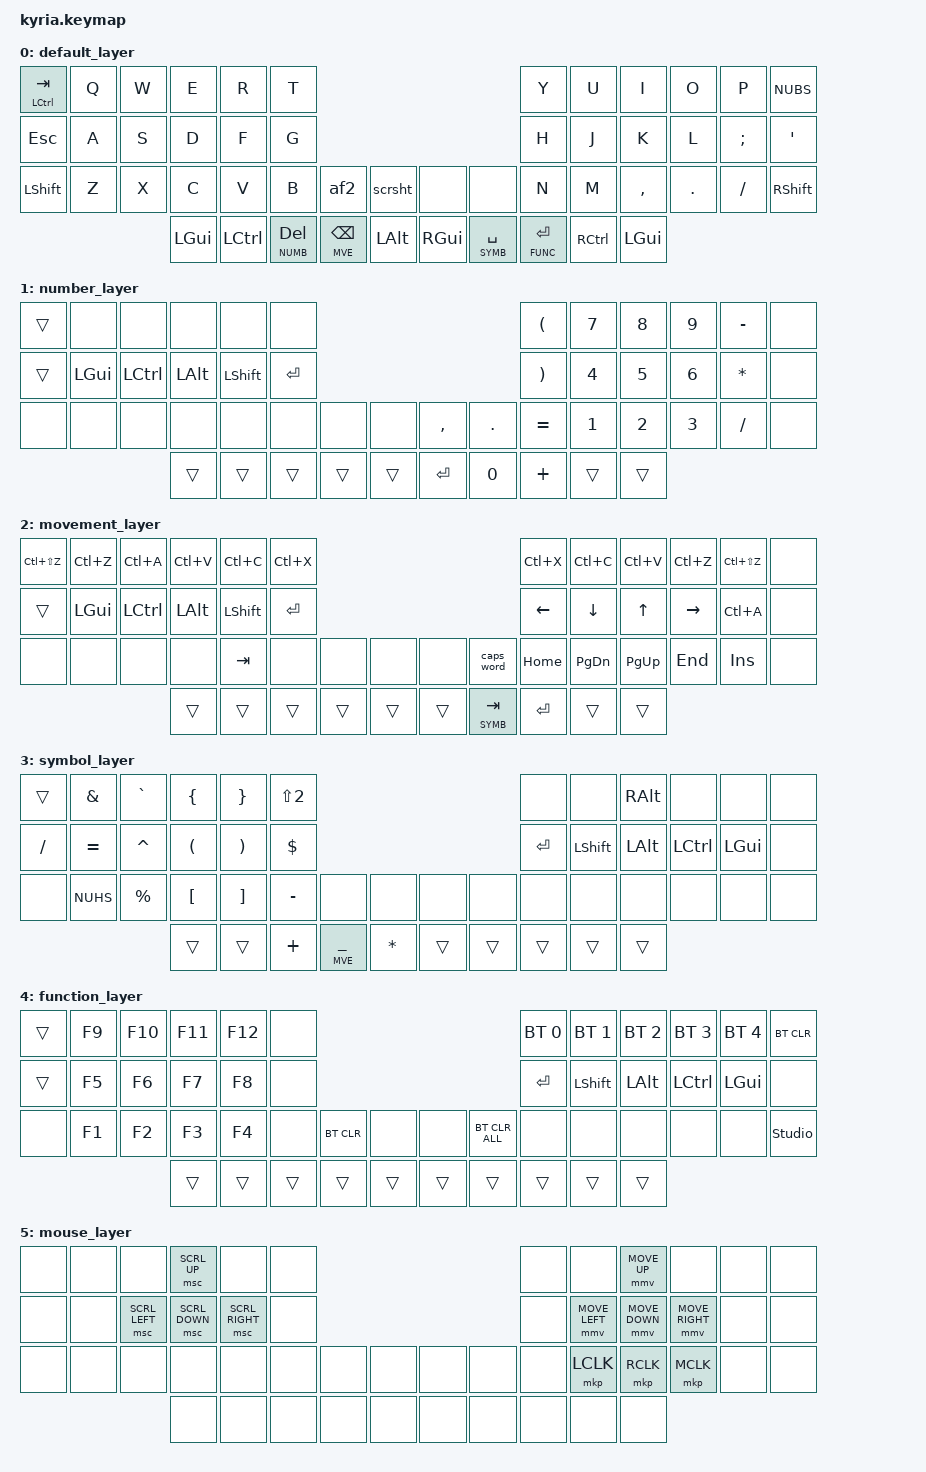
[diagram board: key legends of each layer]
/*
 * Copyright (c) 2020 The ZMK Contributors
 *
 * SPDX-License-Identifier: MIT
 */

#define DEFT 0
#define NUMB 1
#define MVE 2
#define SYMB 3
#define FUNC 4
#define MOUSE 5

#include <behaviors.dtsi>
#include <behaviors/mouse_keys.dtsi>
#include <dt-bindings/zmk/keys.h>
#include <dt-bindings/zmk/bt.h>
#include <dt-bindings/zmk/pointing.h>


/ {
    macros {
    ZMK_MACRO(af2,
        wait-ms = <30>;
        tap-ms = <40>;
        bindings = <&macro_tap &kp LA(F2)>;
    )
    ZMK_MACRO(scrsht,
        wait-ms = <30>;
        tap-ms = <40>;
        bindings = <&macro_tap &kp LG(LS(S))>;
    )	
    ZMK_MACRO(eqar,
        wait-ms = <30>;
        tap-ms = <40>;
        bindings = <&macro_tap &kp EQUAL &kp LS(DOT)>;
    )	
    ZMK_MACRO(eqal,
        wait-ms = <30>;
        tap-ms = <40>;
        bindings = <&macro_tap &kp LS(COMMA) &kp EQUAL>;
    )
    ZMK_MACRO(dhar,
        wait-ms = <30>;
        tap-ms = <40>;
        bindings = <&macro_tap &kp MINUS &kp LS(DOT)>;
    )
    ZMK_MACRO(dhal,
        wait-ms = <30>;
        tap-ms = <40>;
        bindings = <&kp LS(COMMA) &kp MINUS>;
    )
    };
};

&caps_word {
    continue-list = <UNDERSCORE MINUS BACKSPACE DELETE>;
};

/ {
    combos {
        compatible = "zmk,combos";
        combo_search {
            timeout-ms = <50>;
            key-positions = <42 43>;
            bindings = <&af2>;
        };
        combo_scrsht {
            timeout-ms = <50>;
            key-positions = <45 46>;
            bindings = <&scrsht>;
            layers = <0>;
        };
        combo_caps_word {
            timeout-ms = <50>;
            key-positions = <46 47>;
            bindings = <&caps_word>;
            layers = <0>;
        };
        combo_dot {
            timeout-ms = <50>;
            key-positions = <46 47>;
            bindings = <&kp DOT>;
            layers = <1>;
        };
	combo_arrow {
            timeout-ms = <50>;
            key-positions = <19 29>;
            bindings = <&dhar>;
            layers = <3>;
        };
	combo_arrow_rev {
            timeout-ms = <50>;
            key-positions = <19 20 29>;
            bindings = <&dhal>;
            layers = <3>;
        };	
	combo_thick_arrow {
            timeout-ms = <50>;
            key-positions = <13 19>;
            bindings = <&eqar>;
            layers = <3>;
        };
	combo_thick_arrow_rev {
            timeout-ms = <50>;
            key-positions = <13 19 20>;
            bindings = <&eqal>;
            layers = <3>;
        };
	combo_return_left_side {
            timeout-ms = <50>;
            key-positions = <28 29>;
            bindings = <&kp RET>;
            layers = <0>;
        };
    };
};

/ {
    conditional_layers {
        compatible = "zmk,conditional-layers";
        tri_layer {
            if-layers = <2 3>;
            then-layer = <5>;
        };
    };
};

/ {
	keymap {
		compatible = "zmk,keymap";

		default_layer {
			bindings = <
        &mt LCTRL TAB &kp Q &kp W &kp E    &kp R     &kp T                                                         &kp Y        &kp U     &kp I     &kp O   &kp P    &kp NUBS
        &kp ESC       &kp A &kp S &kp D    &kp F     &kp G                                                         &kp H        &kp J     &kp K     &kp L   &kp SEMI &kp SQT
        &kp LSHFT     &kp Z &kp X &kp C    &kp V     &kp B        &af2         &scrsht     &none    &none          &kp N        &kp M     &kp COMMA &kp DOT &kp FSLH &kp RSHFT
	                                &kp LGUI &kp LCTRL &lt NUMB DEL &lt MVE BSPC &kp LALT    &kp RGUI &lt SYMB SPACE &lt FUNC RET &kp RCTRL &kp LGUI
			>;
		};
    number_layer {
			bindings = <
        &trans &none    &none     &none    &none     &none                                       &kp LPAR  &kp N7  &kp N8 &kp N9 &kp MINUS &none
        &trans &kp LGUI &kp LCTRL &kp LALT &kp LSHFT &kp RET                                     &kp RPAR  &kp N4  &kp N5 &kp N6 &kp STAR  &none
        &none  &none    &none     &none    &none     &none  &none  &none       &kp COMMA &kp DOT &kp EQUAL &kp N1  &kp N2 &kp N3 &kp FSLH  &none
                                  &trans   &trans    &trans &trans &trans      &kp RET   &kp N0  &kp PLUS  &trans  &trans
			>;
		};
    movement_layer {
			bindings = <
        &kp LC(LS(Z)) &kp LC(Z)   &kp LC(A) &kp LC(V) &kp LC(C) &kp LC(X)                                         &kp LC(X) &kp LC(C) &kp LC(V) &kp LC(Z) &kp LC(LS(Z)) &none
        &trans        &kp LGUI    &kp LCTRL &kp LALT  &kp LSHFT &kp RET                                       &kp LEFT  &kp DOWN  &kp UP    &kp RIGHT &kp LC(A)     &none
        &none         &none       &none     &none     &kp TAB   &none  &none  &none        &none  &caps_word  &kp HOME  &kp PG_DN &kp PG_UP &kp END   &kp INS       &none
	                                    &trans    &trans    &trans &trans &trans       &trans &lt SYMB TAB     &kp RET   &trans    &trans
			>;
		};
    symbol_layer {
			bindings = <
        &trans   &kp AMPS  &kp GRAVE &kp LBRC &kp RBRC &kp LS(N2)                                    &none   &none     &kp RALT  &none     &none    &none
        &kp FSLH &kp EQUAL &kp CARET &kp LPAR &kp RPAR &kp DLLR                                      &kp RET &kp LSHFT &kp LALT  &kp LCTRL &kp LGUI &none
        &none    &kp NUHS  &kp PRCNT &kp LBKT &kp RBKT &kp MINUS &none     &none       &none  &none  &none   &none     &none     &none     &none    &none
	                                 &trans   &trans   &kp PLUS  &lt MVE UNDER &kp STAR    &trans &trans &trans  &trans    &trans
			>;
		};
    function_layer {
			bindings = <
        &trans &kp F9 &kp F10 &kp F11 &kp F12 &none                                              &bt BT_SEL 0  &bt BT_SEL 1 &bt BT_SEL 2 &bt BT_SEL 3 &bt BT_SEL 4 &bt BT_CLR
        &trans &kp F5 &kp F6  &kp F7  &kp F8  &none                                              &kp RET       &kp LSHFT    &kp LALT     &kp LCTRL    &kp LGUI     &none
        &none  &kp F1 &kp F2  &kp F3  &kp F4  &none  &bt BT_CLR &none     &none  &bt BT_CLR_ALL  &none         &none        &none        &none        &none        &studio_unlock
	                          &trans  &trans  &trans &trans &trans    &trans &trans          &trans        &trans       &trans
			>;
		};
		  mouse_layer {
			bindings = <
		      &none &none &none          &msc SCRL_UP   &none           &none                            &none &none          &mmv MOVE_UP   &none           &none &none 
		      &none &none &msc SCRL_LEFT &msc SCRL_DOWN &msc SCRL_RIGHT &none                            &none &mmv MOVE_LEFT &mmv MOVE_DOWN &mmv MOVE_RIGHT &none &none
		      &none &none &none          &none          &none           &none &none &none    &none &none &none &mkp LCLK      &mkp RCLK      &mkp MCLK       &none &none
		                                &none          &none           &none &none &none    &none &none &none &none          &none
			>;
		};
	};
};
